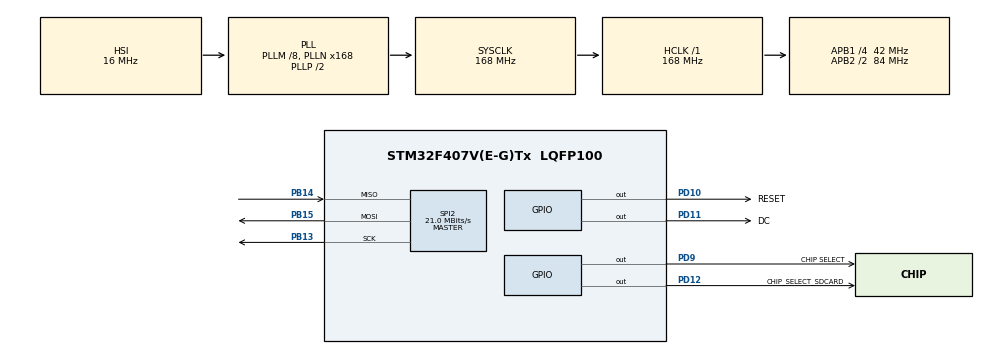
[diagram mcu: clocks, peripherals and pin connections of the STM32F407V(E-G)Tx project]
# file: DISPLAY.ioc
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Mcu.Family=STM32F4
Mcu.Name=STM32F407V(E-G)Tx
Mcu.Package=LQFP100
NVIC.PriorityGroup=NVIC_PRIORITYGROUP_4
PB13.Mode=Full_Duplex_Master
PB13.Signal=SPI2_SCK
PB14.Mode=Full_Duplex_Master
PB14.Signal=SPI2_MISO
PB15.Mode=Full_Duplex_Master
PB15.Signal=SPI2_MOSI
PD10.GPIO_Label=RESET
PD10.Signal=GPIO_Output
PD11.GPIO_Label=DC
PD11.Signal=GPIO_Output
PD12.GPIO_Label=CHIP_SELECT_SDCARD
PD12.Signal=GPIO_Output
PD9.GPIO_Label=CHIP SELECT
PD9.Signal=GPIO_Output
PH0-OSC_IN.Mode=HSE-External-Oscillator
PH0-OSC_IN.Signal=RCC_OSC_IN
PH1-OSC_OUT.Mode=HSE-External-Oscillator
PH1-OSC_OUT.Signal=RCC_OSC_OUT
ProjectManager.HeapSize=0x200
ProjectManager.StackSize=0x400
ProjectManager.TargetToolchain=STM32CubeIDE
RCC.48MHZClocksFreq_Value=48000000
RCC.AHBFreq_Value=168000000
RCC.APB1CLKDivider=RCC_HCLK_DIV4
RCC.APB1Freq_Value=42000000
RCC.APB1TimFreq_Value=84000000
RCC.APB2CLKDivider=RCC_HCLK_DIV2
RCC.APB2Freq_Value=84000000
RCC.APB2TimFreq_Value=168000000
RCC.CortexFreq_Value=168000000
RCC.HCLKFreq_Value=168000000
RCC.HSE_VALUE=25000000
RCC.HSI_VALUE=16000000
RCC.LSE_VALUE=32768
RCC.PLLM=8
RCC.PLLN=168
RCC.PLLQ=7
RCC.SYSCLKFreq_VALUE=168000000
RCC.SYSCLKSource=RCC_SYSCLKSOURCE_PLLCLK
RCC.VCOOutputFreq_Value=336000000
SPI2.CalculateBaudRate=21.0 MBits/s
SPI2.Direction=SPI_DIRECTION_2LINES
SPI2.Mode=SPI_MODE_MASTER
SPI2.VirtualType=VM_MASTER
VP_RNG_VS_RNG.Mode=RNG_Activate
board=custom

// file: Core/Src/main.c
/* USER CODE BEGIN Header */
/**
  ******************************************************************************
  * @file           : main.c
  * @brief          : Main program body
  ******************************************************************************
  * @attention
  *
  * Copyright (c) 2024 STMicroelectronics.
  * All rights reserved.
  *
  * This software is licensed under terms that can be found in the LICENSE file
  * in the root directory of this software component.
  * If no LICENSE file comes with this software, it is provided AS-IS.
  *
  ******************************************************************************
  */
/* USER CODE END Header */
#include "main.h"

/* USER CODE BEGIN Includes */
//#include "sdio.h"
#include "Utility.h"
#include "ILI9341.h"
#include "ILI9341_GFX.h"
#include "string.h"
#include "stdio.h"
#include "snow_tiger.h"
#include "assert.h"
#include "fagner.h"
#include "tigri1.h"
#include "tigri2.h"
#include "tigri3.h"
#include "tigri4.h"
/* USER CODE END Includes */

RNG_HandleTypeDef hrng;

SPI_HandleTypeDef hspi2;

/* USER CODE BEGIN PV */
uint8_t outbuff[512];
uint8_t inbuff[512];
/* USER CODE END PV */

void SystemClock_Config(void);
static void MX_GPIO_Init(void);
static void MX_SPI2_Init(void);
static void MX_RNG_Init(void);
/* USER CODE BEGIN PFP */
void process_SD_card( void );
/* USER CODE END PFP */

int main(void)
{

  /* MCU Configuration--------------------------------------------------------*/

  /* Reset of all peripherals, Initializes the Flash interface and the Systick. */
  HAL_Init();

  /* Configure the system clock */
  SystemClock_Config();

  /* USER CODE BEGIN SysInit */
  USART1_Init();
  TIM2_Setup();
  /* USER CODE END SysInit */

  /* Initialize all configured peripherals */
  MX_GPIO_Init();
  MX_SPI2_Init();
  MX_RNG_Init();
  /* USER CODE BEGIN 2 */
  ILI9341_Init();
  /* USER CODE END 2 */

  /* Infinite loop */
  while (1)
  {

    /* USER CODE BEGIN 3 */
	  ILI9341_Fill_Screen(WHITE);
    ILI9341_Set_Rotation(SCREEN_HORIZONTAL_2);
    ILI9341_Draw_Text("FPS TEST, 40 loop 2 screens", 10, 10, BLACK, 1, WHITE);
    HAL_Delay(2000);
		ILI9341_Fill_Screen(WHITE);
		HAL_Delay(2000);
		ILI9341_Fill_Screen(WHITE);
		ILI9341_Set_Rotation(SCREEN_HORIZONTAL_2);
		ILI9341_Draw_Text("Counting multiple segments at once", 10, 10, BLACK, 1, WHITE);
		HAL_Delay(2000);
		ILI9341_Fill_Screen(WHITE);

		char Temp_Buffer_text[40];
		for(uint16_t i = 0; i <= 10; i++)
		{
			sprintf(Temp_Buffer_text, "Counting: %d", i);
			ILI9341_Draw_Text(Temp_Buffer_text, 10, 10, BLACK, 2, WHITE);
			ILI9341_Draw_Text(Temp_Buffer_text, 10, 30, BLUE, 2, WHITE);
			ILI9341_Draw_Text(Temp_Buffer_text, 10, 50, RED, 2, WHITE);
			ILI9341_Draw_Text(Temp_Buffer_text, 10, 70, GREEN, 2, WHITE);
			ILI9341_Draw_Text(Temp_Buffer_text, 10, 90, BLACK, 2, WHITE);
			ILI9341_Draw_Text(Temp_Buffer_text, 10, 110, BLUE, 2, WHITE);
			ILI9341_Draw_Text(Temp_Buffer_text, 10, 130, RED, 2, WHITE);
			ILI9341_Draw_Text(Temp_Buffer_text, 10, 150, GREEN, 2, WHITE);
			ILI9341_Draw_Text(Temp_Buffer_text, 10, 170, WHITE, 2, BLACK);
			ILI9341_Draw_Text(Temp_Buffer_text, 10, 190, BLUE, 2, BLACK);
			ILI9341_Draw_Text(Temp_Buffer_text, 10, 210, RED, 2, BLACK);
		}

		HAL_Delay(3000);
		ILI9341_Fill_Screen(WHITE);
		ILI9341_Set_Rotation(SCREEN_HORIZONTAL_2);
		ILI9341_Draw_Text("Randomly placed and sized", 10, 10, BLACK, 1, WHITE);
		ILI9341_Draw_Text("Circles", 10, 20, BLACK, 1, WHITE);
		HAL_Delay(2000);
		ILI9341_Fill_Screen(WHITE);

		for(uint32_t i = 0; i < 3000; i++)
		{
			uint32_t random_num = 0;
			uint16_t xr = 0;
			uint16_t yr = 0;
			uint16_t radiusr = 0;
			uint16_t colourr = 0;
			random_num = HAL_RNG_GetRandomNumber(&hrng);
			xr = random_num;
			random_num = HAL_RNG_GetRandomNumber(&hrng);
			yr = random_num;
			random_num = HAL_RNG_GetRandomNumber(&hrng);
			radiusr = random_num;
			random_num = HAL_RNG_GetRandomNumber(&hrng);
			colourr = random_num;

			xr &= 0x01FF;
			yr &= 0x01FF;
			radiusr &= 0x001F;
			//ili9341_drawpixel(xr, yr, WHITE);
			ILI9341_Draw_Hollow_Circle(xr, yr, radiusr*2, colourr);
		}
		HAL_Delay(1000);
		ILI9341_Fill_Screen(WHITE);
		ILI9341_Set_Rotation(SCREEN_HORIZONTAL_2);
		ILI9341_Draw_Text("RGB Picture", 10, 10, BLACK, 1, WHITE);
		ILI9341_Draw_Text("TIGER", 10, 20, BLACK, 1, WHITE);
		HAL_Delay(2000);
		//ILI9341_Draw_Image((const char*)snow_tiger, SCREEN_VERTICAL_2);
		ILI9341_Set_Rotation(SCREEN_VERTICAL_1);
		HAL_Delay(10000);

  }
  /* USER CODE END 3 */
}

void SystemClock_Config(void)
{
  RCC_OscInitTypeDef RCC_OscInitStruct = {0};
  RCC_ClkInitTypeDef RCC_ClkInitStruct = {0};

  /** Configure the main internal regulator output voltage
  */
  __HAL_RCC_PWR_CLK_ENABLE();
  __HAL_PWR_VOLTAGESCALING_CONFIG(PWR_REGULATOR_VOLTAGE_SCALE1);

  /** Initializes the RCC Oscillators according to the specified parameters
  * in the RCC_OscInitTypeDef structure.
  */
  RCC_OscInitStruct.OscillatorType = RCC_OSCILLATORTYPE_HSI;
  RCC_OscInitStruct.HSIState = RCC_HSI_ON;
  RCC_OscInitStruct.HSICalibrationValue = RCC_HSICALIBRATION_DEFAULT;
  RCC_OscInitStruct.PLL.PLLState = RCC_PLL_ON;
  RCC_OscInitStruct.PLL.PLLSource = RCC_PLLSOURCE_HSI;
  RCC_OscInitStruct.PLL.PLLM = 8;
  RCC_OscInitStruct.PLL.PLLN = 168;
  RCC_OscInitStruct.PLL.PLLP = RCC_PLLP_DIV2;
  RCC_OscInitStruct.PLL.PLLQ = 7;
  if (HAL_RCC_OscConfig(&RCC_OscInitStruct) != HAL_OK)
  {
    Error_Handler();
  }

  /** Initializes the CPU, AHB and APB buses clocks
  */
  RCC_ClkInitStruct.ClockType = RCC_CLOCKTYPE_HCLK|RCC_CLOCKTYPE_SYSCLK
                              |RCC_CLOCKTYPE_PCLK1|RCC_CLOCKTYPE_PCLK2;
  RCC_ClkInitStruct.SYSCLKSource = RCC_SYSCLKSOURCE_PLLCLK;
  RCC_ClkInitStruct.AHBCLKDivider = RCC_SYSCLK_DIV1;
  RCC_ClkInitStruct.APB1CLKDivider = RCC_HCLK_DIV4;
  RCC_ClkInitStruct.APB2CLKDivider = RCC_HCLK_DIV2;

  if (HAL_RCC_ClockConfig(&RCC_ClkInitStruct, FLASH_LATENCY_5) != HAL_OK)
  {
    Error_Handler();
  }
}

static void MX_RNG_Init(void)
{

  hrng.Instance = RNG;
  if (HAL_RNG_Init(&hrng) != HAL_OK)
  {
    Error_Handler();
  }

}

static void MX_SPI2_Init(void)
{

  /* SPI2 parameter configuration*/
  hspi2.Instance = SPI2;
  hspi2.Init.Mode = SPI_MODE_MASTER;
  hspi2.Init.Direction = SPI_DIRECTION_2LINES;
  hspi2.Init.DataSize = SPI_DATASIZE_8BIT;
  hspi2.Init.CLKPolarity = SPI_POLARITY_LOW;
  hspi2.Init.CLKPhase = SPI_PHASE_1EDGE;
  hspi2.Init.NSS = SPI_NSS_SOFT;
  hspi2.Init.BaudRatePrescaler = SPI_BAUDRATEPRESCALER_2;
  hspi2.Init.FirstBit = SPI_FIRSTBIT_MSB;
  hspi2.Init.TIMode = SPI_TIMODE_DISABLE;
  hspi2.Init.CRCCalculation = SPI_CRCCALCULATION_DISABLE;
  hspi2.Init.CRCPolynomial = 10;
  if (HAL_SPI_Init(&hspi2) != HAL_OK)
  {
    Error_Handler();
  }

}

static void MX_GPIO_Init(void)
{
  GPIO_InitTypeDef GPIO_InitStruct = {0};

  /* GPIO Ports Clock Enable */
  __HAL_RCC_GPIOH_CLK_ENABLE();
  __HAL_RCC_GPIOB_CLK_ENABLE();
  __HAL_RCC_GPIOD_CLK_ENABLE();

  /*Configure GPIO pin Output Level */
  HAL_GPIO_WritePin(GPIOD, CHIP_SELECT_Pin|RESET_Pin|DC_Pin|CHIP_SELECT_SDCARD_Pin, GPIO_PIN_RESET);

  /*Configure GPIO pins : CHIP_SELECT_Pin RESET_Pin DC_Pin CHIP_SELECT_SDCARD_Pin */
  GPIO_InitStruct.Pin = CHIP_SELECT_Pin|RESET_Pin|DC_Pin|CHIP_SELECT_SDCARD_Pin;
  GPIO_InitStruct.Mode = GPIO_MODE_OUTPUT_PP;
  GPIO_InitStruct.Pull = GPIO_NOPULL;
  GPIO_InitStruct.Speed = GPIO_SPEED_FREQ_LOW;
  HAL_GPIO_Init(GPIOD, &GPIO_InitStruct);

}

void Error_Handler(void)
{
  __disable_irq();
  while (1)
  {
  }
}
